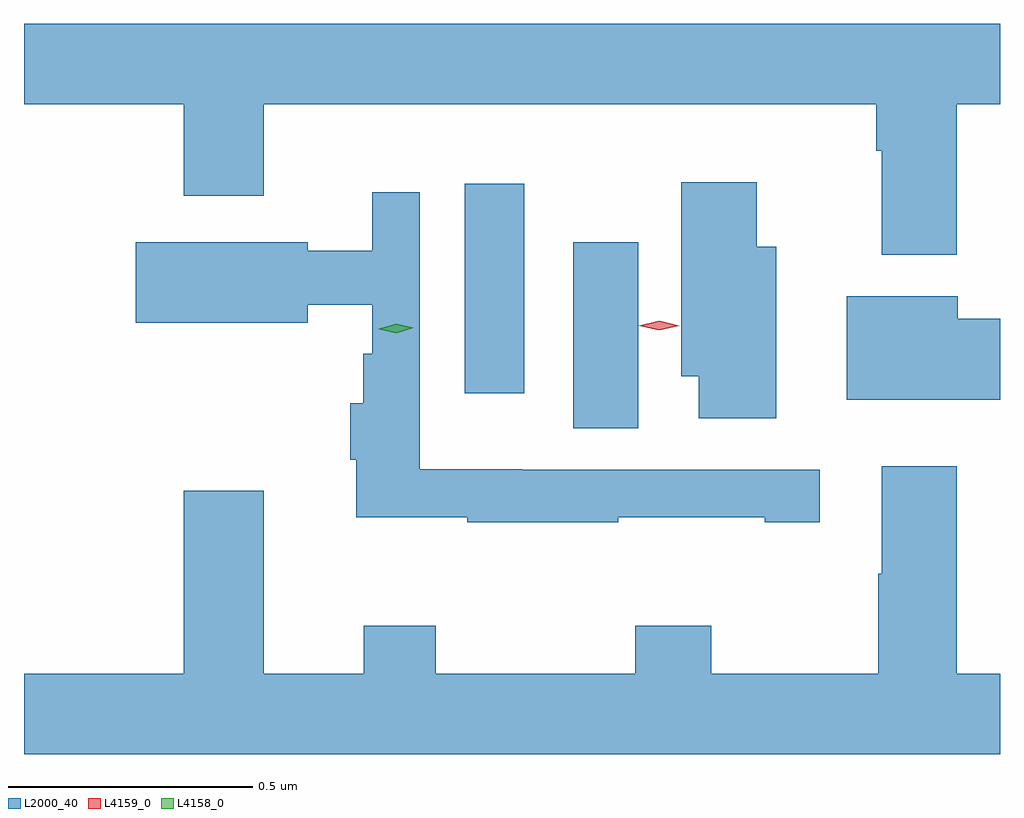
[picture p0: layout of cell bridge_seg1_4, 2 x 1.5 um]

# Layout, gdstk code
import gdstk
lib = gdstk.Library(unit=1e-6, precision=1e-09)
def R(c, l, rs):  # rectangles x0, y0, x1, y1
    for r in rs: c.add(gdstk.rectangle(r[:2], r[2:], *l))
def P(c, l, *ps):  # polygons
    for p in ps: c.add(gdstk.Polygon(p, *l))
L2000_40 = (2000, 40)
L4158_0 = (4158, 0)
L4159_0 = (4159, 0)

bridge_seg1_4 = lib.new_cell('bridge_seg1_4')
R(bridge_seg1_4, L2000_40, [(645.326,549.736,645.46,550.117), (645.104,549.807,645.226,550.237)])
P(bridge_seg1_4, L2000_40, [(646.112,550.4),(646.201,550.4),(646.201,550.564),(644.201,550.564),(644.201,550.4),(644.528,550.4),(644.528,550.212),(644.692,550.212),(644.692,550.4),(645.947,550.4),(645.947,550.304),(645.959,550.304),(645.959,550.091),(646.112,550.091)],
  [(645.742,550.108),(645.703,550.108),(645.703,550.24),(645.548,550.24),(645.548,549.842),(645.584,549.842),(645.584,549.756),(645.742,549.756)],
  [(645.419,549.553),(645.719,549.553),(645.719,549.543),(645.832,549.543),(645.832,549.651),(645.222,549.651),(645.222,549.652),(645.012,549.652),(645.012,550.219),(644.915,550.219),(644.915,550.099),(644.782,550.099),(644.782,550.117),(644.43,550.117),(644.43,549.952),(644.782,549.952),(644.782,549.989),(644.915,549.989),(644.915,549.888),(644.896,549.888),(644.896,549.787),(644.87,549.787),(644.87,549.671),(644.882,549.671),(644.882,549.553),(645.109,549.553),(645.109,549.543),(645.419,549.543)],
  [(646.201,549.96),(646.114,549.96),(646.114,550.006),(645.887,550.006),(645.887,549.794),(646.201,549.794)],
  [(646.201,549.232),(646.112,549.232),(646.112,549.658),(645.959,549.658),(645.959,549.437),(645.952,549.437),(645.952,549.232),(645.609,549.232),(645.609,549.331),(645.454,549.331),(645.454,549.232),(645.045,549.232),(645.045,549.331),(644.897,549.331),(644.897,549.232),(644.692,549.232),(644.692,549.607),(644.528,549.607),(644.528,549.232),(644.201,549.232),(644.201,549.068),(646.201,549.068)])
P(bridge_seg1_4, L4158_0, [(644.964,549.93),(644.928,549.938),(644.928,549.938),(644.928,549.939),(644.964,549.95),(645,549.942),(645,549.942),(645,549.942)])
P(bridge_seg1_4, L4159_0, [(645.503,549.936),(645.461,549.946),(645.461,549.946),(645.461,549.946),(645.503,549.956),(645.544,549.946),(645.544,549.946),(645.544,549.946)])

lib.write_gds('bridge_seg1_4.gds')
